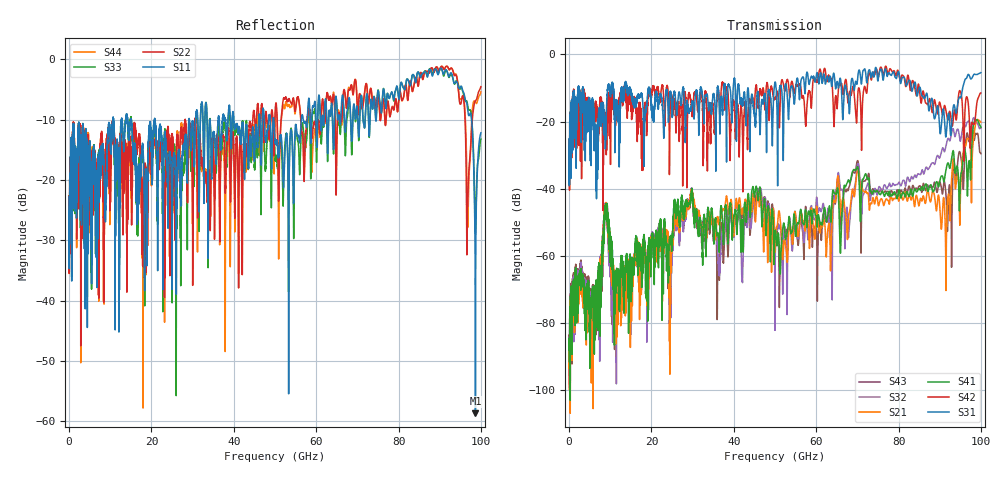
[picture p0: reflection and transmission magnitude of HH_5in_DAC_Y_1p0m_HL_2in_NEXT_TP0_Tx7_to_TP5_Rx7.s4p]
# GHz S RI R 45
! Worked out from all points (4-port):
!   4000 points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, 25 MHz to 100 GHz, reference 45 ohm
!   strongest paths, dB at 25 MHz, 25.02 GHz, 50.02 GHz, 75.03 GHz, 100 GHz:
!     S31: -39.1, -18.3, -8.4, -7.8, -5.4
!     S42: -38.8, -15.0, -12.9, -6.4, -11.5
!     S41: -88.1, -55.2, -52.8, -40.9, -21.7
!     S21: -93.5, -54.4, -58.2, -44.5, -20.2
!     S32: -95.6, -57.2, -67.4, -40.7, -21.9
!     S43: -94.9, -55.5, -53.6, -40.7, -29.6
!   lowest |S11| = -58.7 dB at 98.67 GHz (marker M1), VSWR 1.00, Z = 44.9 - j0.0587 ohm
!   |S11| at or under -10 dB: start of sweep to 10.62 GHz; 20.88 GHz to 29.1 GHz (8.223 GHz wide, 32.9 % of centre); 49.71 GHz to 56.41 GHz (6.695 GHz wide, 12.6 % of centre)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
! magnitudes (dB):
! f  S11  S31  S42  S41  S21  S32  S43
! 25 MHz  -25.1  -39.1  -38.8  -88.1  -93.5  -95.6  -94.9
! 8.925 GHz  -24.4  -21.4  -18.2  -45.5  -45.4  -45.4  -45.8
! 11 GHz  -12.8  -14.0  -13.0  -72.3  -67.7  -70.7  -70.2
! 29.6 GHz  -15.2  -16.0  -14.2  -43.5  -41.5  -41.4  -42.5
! 91.5 GHz  -1.7  -24.6  -16.6  -34.6  -66.5  -27.4  -41.4
! 98.67 GHz  -58.7  -6.0  -18.7  -19.8  -20.9  -19.8  -23.7
! 100 GHz  -12.2  -5.4  -11.5  -21.7  -20.2  -21.9  -29.6
